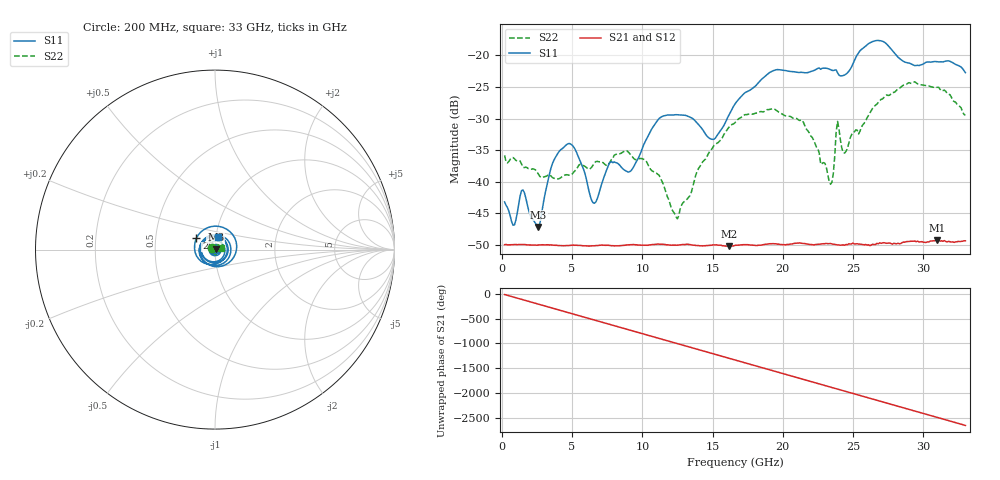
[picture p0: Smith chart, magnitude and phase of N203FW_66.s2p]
# GHZ S RI R 50
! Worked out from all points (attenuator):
!   329 points, 200 MHz to 33 GHz, reference 50 ohm
!   highest |S21| = -49.26 dB at 31 GHz (marker M1); lowest = -50.2 dB at 16.2 GHz (marker M2)
!   lowest |S11| = -47.2 dB at 2.6 GHz (marker M3), VSWR 1.01, Z = 50.4 + j0.127 ohm
!   |S11| at or under -10 dB: start of sweep to end of sweep
!   |S22| runs from -45.9 to -24.2 dB; largest |S21 - S12| = 8.9e-05
!   S11 on the Smith chart (normalised r, x): 200 MHz: 1.01, +0.01; 26 GHz: 0.81, +0.10; 33 GHz: 1.03, +0.15
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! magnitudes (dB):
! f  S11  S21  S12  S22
! 200 MHz  -43.2  -50.0  -49.9  -35.8
! 900 MHz  -46.8  -49.9  -49.9  -36.4
! 1.5 GHz  -41.3  -49.9  -49.9  -37.7
! 2.6 GHz  -47.2  -50.0  -50.0  -38.8
! 4.1 GHz  -35.1  -50.1  -50.1  -39.5
! 5.7 GHz  -37.4  -50.1  -50.1  -37.3
! 6.6 GHz  -43.4  -50.1  -50.1  -37.0
! 7.7 GHz  -37.0  -50.1  -50.1  -36.9
! 11.2 GHz  -30.0  -49.9  -49.9  -39.0
! 12.5 GHz  -29.4  -50.0  -50.0  -45.9
! 15 GHz  -33.3  -50.0  -50.0  -34.6
! 16.2 GHz  -29.3  -50.2  -50.2  -31.3
! 16.6 GHz  -27.7  -50.1  -50.1  -30.7
! 19.3 GHz  -22.4  -49.8  -49.8  -28.4
! 22.1 GHz  -22.5  -50.0  -49.9  -33.0
! 23.4 GHz  -22.3  -49.8  -49.8  -40.4
! 23.9 GHz  -22.7  -50.0  -50.0  -30.4
! 24.4 GHz  -23.1  -50.0  -49.9  -35.5
! 26 GHz  -18.3  -50.0  -50.0  -29.9
! 27.6 GHz  -18.7  -49.7  -49.7  -26.3
! 31 GHz  -21.0  -49.3  -49.2  -25.0
! 33 GHz  -22.7  -49.3  -49.4  -29.5
